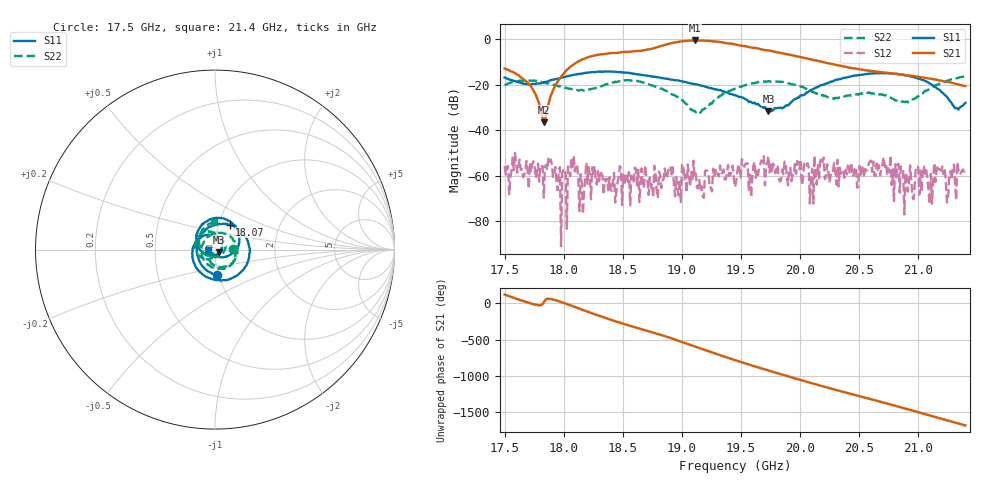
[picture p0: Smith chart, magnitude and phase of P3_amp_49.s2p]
!Created with skrf (http://scikit-rf.org).
# GHz S RI R 50.0
!freq ReS11 ImS11 ReS21 ImS21 ReS12 ImS12 ReS22 ImS22
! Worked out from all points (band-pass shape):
!   401 points, 17.5 GHz to 21.4 GHz, reference 50 ohm
!   highest |S21| = -0.53 dB at 19.11 GHz (marker M1); lowest = -36.5 dB at 17.83 GHz (marker M2)
!   |S21| within 3 dB of the highest: 18.79 GHz to 19.58 GHz (791.3 MHz wide, 4.13 % of centre)
!   lowest |S11| = -31.8 dB at 19.73 GHz (marker M3), VSWR 1.05, Z = 52.1 - j1.56 ohm
!   |S11| at or under -10 dB: start of sweep to end of sweep
!   |S22| runs from -32.3 to -16.2 dB; largest |S21 - S12| = 0.94
!   S11 on the Smith chart (normalised r, x): 17.5 GHz: 0.98, -0.29; 18.07 GHz: 1.13, +0.32; 21.4 GHz: 0.92, -0.00
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17.5  0.00878 -0.1436  -0.1261 0.1888  -0.000973 0.00129  0.0983 0.000755
17.8315  -0.0764 0.0824  0.0144 0.00424  0.00016 0.000287  0.0312 -0.1077
17.95825  0 0.137  0.1085 0.0664  0.0011 0.00061  -0.0318 -0.0864
18.0655  0.0816 0.1391  0.2202 -0.1315  0.00247 0.000178  -0.0716 -0.037
18.15325  0.1423 0.1035  0.036 -0.352  0.000674 8.62e-05  -0.0747 0.0189
18.202  0.169 0.0751  -0.1581 -0.3654  0.000657 -1.39e-05  -0.06 0.0496
18.32875  0.1903 -0.0281  -0.4654 0.0617  0.000399 -0.0009  0.0198 0.093
18.50425  0.1038 -0.1544  0.0906 0.5173  0.000245 -0.00103  0.1224 0.00992
18.8065  -0.1067 -0.0977  0.285 -0.6302  -0.0008 -0.000934  -0.00844 -0.0853
18.99175  -0.1181 0.0217  -0.8729 -0.1938  -0.000157 0.00021  -0.0325 -0.0344
19.10875  -0.075 0.0706  -0.5407 0.7697  -0.000253 0.000895  -0.0176 -0.0196
19.294  0.000668 0.0778  0.8307 0.3113  0.000569 0.000829  -0.0196 -0.0453
19.45  0.0343 0.0475  0.3362 -0.6948  0.00056 -2.6e-05  -0.0654 -0.049
19.606  0.0378 0.0101  -0.5213 -0.3867  0.00166 -0.000188  -0.1077 -0.00298
19.73275  0.021 -0.0149  -0.5094 0.2557  0.00175 -0.00203  -0.1041 0.0585
19.879  -0.0119 -0.0328  0.0727 0.4689  4.07e-05 -0.002  -0.0475 0.1001
20.10325  -0.0778 -0.00676  0.32 -0.1497  -0.00081 -0.00116  0.0143 0.0678
20.4055  -0.0862 0.119  -0.229 -0.0774  -0.00158 0.000534  0.0131 0.0565
20.7565  0.0858 0.1548  0.1233 0.1313  0.00105 0.000544  0.0531 -0.00475
21.1075  0.1017 -0.0172  -0.0543 -0.124  0.00038 -0.00103  -0.0822 0.0154
21.15625  0.0773 -0.0329  -0.0928 -0.0897  0.00117 -0.00049  -0.0892 0.0411
21.4  -0.0397 -0.00234  -0.0347 0.0867  -0.00102 -0.000696  -0.00784 0.1545
